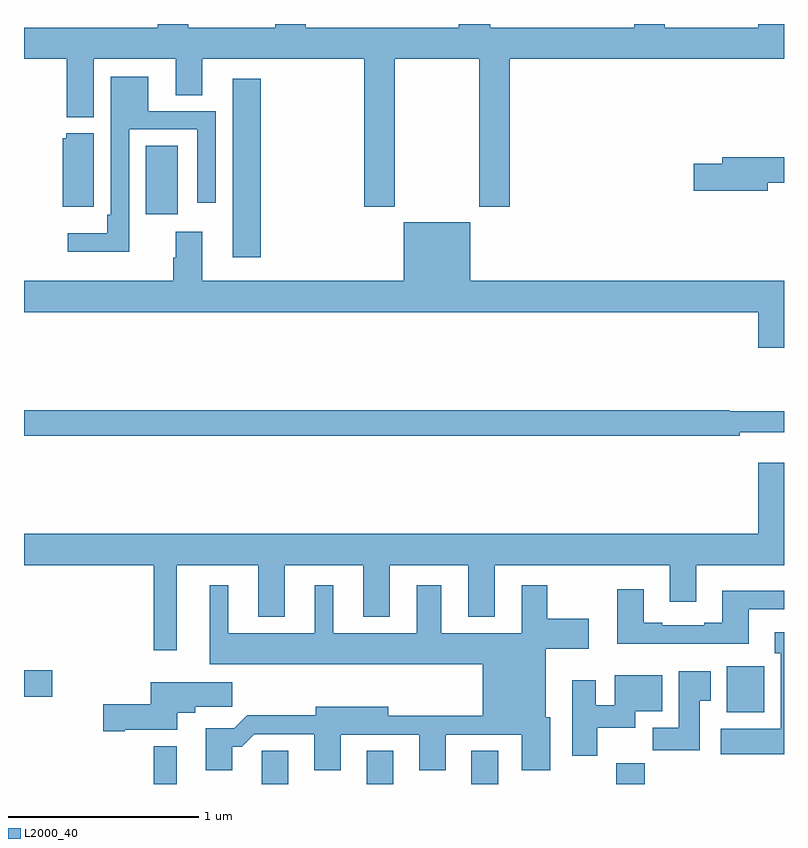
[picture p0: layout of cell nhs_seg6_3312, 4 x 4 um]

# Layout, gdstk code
import gdstk
lib = gdstk.Library(unit=1e-6, precision=1e-09)
def R(c, l, rs):  # rectangles x0, y0, x1, y1
    for r in rs: c.add(gdstk.rectangle(r[:2], r[2:], *l))
def P(c, l, *ps):  # polygons
    for p in ps: c.add(gdstk.Polygon(p, *l))
L2000_40 = (2000, 40)

nhs_seg6_3312 = lib.new_cell('nhs_seg6_3312')
R(nhs_seg6_3312, L2000_40, [(305.682,963.5,305.803,963.7), (306.252,963.5,306.391,963.674), (306.803,963.5,306.943,963.674), (307.355,963.5,307.495,963.674), (308.116,963.5,308.267,963.608), (308.699,963.878,308.896,964.12), (305,963.958,305.149,964.1), (306.098,966.273,306.245,967.213), (305.642,966.498,305.809,966.86)])
P(nhs_seg6_3312, L2000_40, [(306.951,967.316),(307.396,967.316),(307.396,966.537),(307.556,966.537),(307.556,967.316),(309,967.316),(309,967.5),(308.864,967.5),(308.864,967.48),(308.373,967.48),(308.373,967.5),(308.213,967.5),(308.213,967.48),(307.454,967.48),(307.454,967.5),(307.289,967.5),(307.289,967.48),(306.482,967.48),(306.482,967.5),(306.322,967.5),(306.322,967.48),(305.865,967.48),(305.865,967.5),(305.705,967.5),(305.705,967.48),(305,967.48),(305,967.316),(305.225,967.316),(305.225,967.01),(305.368,967.01),(305.368,967.316),(305.798,967.316),(305.798,967.126),(305.938,967.126),(305.938,967.316),(306.791,967.316),(306.791,966.537),(306.951,966.537)],
  [(305.553,966.945),(305.913,966.945),(305.913,966.558),(306.009,966.558),(306.009,967.041),(305.653,967.041),(305.653,967.222),(305.457,967.222),(305.457,966.496),(305.437,966.496),(305.437,966.4),(305.229,966.4),(305.229,966.302),(305.553,966.302)],
  [(305.368,966.925),(305.223,966.925),(305.223,966.9),(305.204,966.9),(305.204,966.539),(305.368,966.539)],
  [(308.914,966.664),(309,966.664),(309,966.8),(308.675,966.8),(308.675,966.764),(308.526,966.764),(308.526,966.622),(308.914,966.622)],
  [(308.864,965.796),(309,965.796),(309,966.148),(307.348,966.148),(307.348,966.457),(306.998,966.457),(306.998,966.148),(305.938,966.148),(305.938,966.406),(305.798,966.406),(305.798,966.269),(305.786,966.269),(305.786,966.148),(305,966.148),(305,965.984),(308.864,965.984)],
  [(308.768,965.351),(309,965.351),(309,965.461),(308.714,965.461),(308.714,965.468),(305,965.468),(305,965.332),(308.768,965.332)],
  [(305.803,964.652),(306.233,964.652),(306.233,964.379),(306.373,964.379),(306.373,964.652),(306.785,964.652),(306.785,964.379),(306.925,964.379),(306.925,964.652),(307.337,964.652),(307.337,964.379),(307.477,964.379),(307.477,964.652),(308.399,964.652),(308.399,964.458),(308.539,964.458),(308.539,964.652),(309,964.652),(309,965.191),(308.864,965.191),(308.864,964.816),(305,964.816),(305,964.652),(305.682,964.652),(305.682,964.203),(305.803,964.203)],
  [(306.097,963.695),(306.146,963.695),(306.213,963.762),(306.527,963.762),(306.527,963.573),(306.667,963.573),(306.667,963.759),(307.079,963.759),(307.079,963.573),(307.219,963.573),(307.219,963.759),(307.619,963.759),(307.619,963.573),(307.771,963.573),(307.771,963.852),(307.747,963.852),(307.747,964.211),(307.972,964.211),(307.972,964.369),(307.755,964.369),(307.755,964.546),(307.619,964.546),(307.619,964.294),(307.195,964.294),(307.195,964.546),(307.067,964.546),(307.067,964.294),(306.628,964.294),(306.628,964.546),(306.53,964.546),(306.53,964.294),(306.076,964.294),(306.076,964.546),(305.978,964.546),(305.978,964.13),(307.415,964.13),(307.415,963.86),(306.916,963.86),(306.916,963.907),(306.536,963.907),(306.536,963.863),(306.176,963.863),(306.106,963.793),(305.957,963.793),(305.957,963.573),(306.097,963.573)],
  [(308.815,964.419),(309,964.419),(309,964.516),(308.675,964.516),(308.675,964.348),(308.579,964.348),(308.579,964.335),(308.359,964.335),(308.359,964.348),(308.263,964.348),(308.263,964.525),(308.123,964.525),(308.123,964.238),(308.815,964.238)],
  [(309,964.3),(308.951,964.3),(308.951,964.187),(308.984,964.187),(308.984,963.79),(308.667,963.79),(308.667,963.656),(309,963.656)],
  [(308.557,963.937),(308.614,963.937),(308.614,964.093),(308.447,964.093),(308.447,963.796),(308.308,963.796),(308.308,963.678),(308.557,963.678)],
  [(308.016,963.797),(308.218,963.797),(308.218,963.884),(308.359,963.884),(308.359,964.072),(308.108,964.072),(308.108,963.915),(308.008,963.915),(308.008,964.045),(307.886,964.045),(307.886,963.648),(308.016,963.648)],
  [(305.53,963.785),(305.806,963.785),(305.806,963.875),(305.902,963.875),(305.902,963.907),(306.097,963.907),(306.097,964.036),(305.666,964.036),(305.666,963.92),(305.418,963.92),(305.418,963.778),(305.53,963.778)])

lib.write_gds('nhs_seg6_3312.gds')
